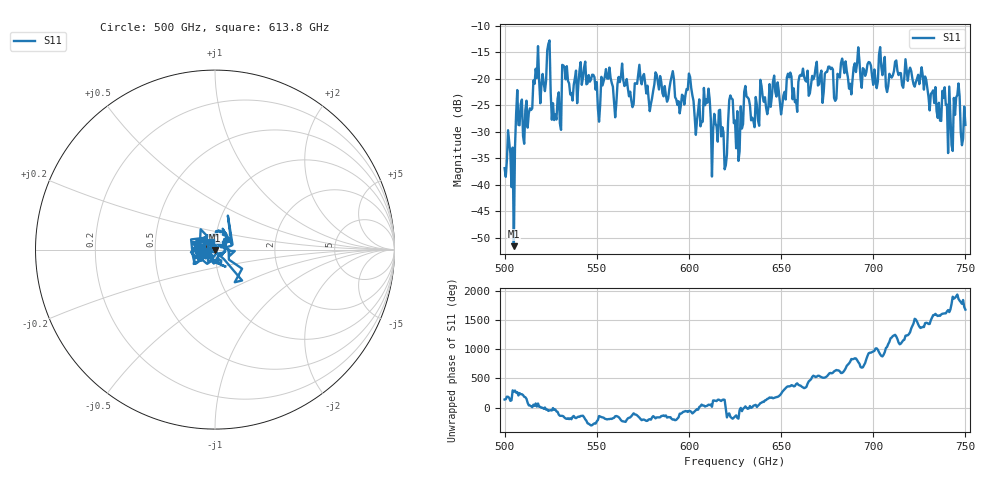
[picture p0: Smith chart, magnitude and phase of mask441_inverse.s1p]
!Created with skrf (http://scikit-rf.org).
# GHz S MA R 50.0
!freq magS11 angS11
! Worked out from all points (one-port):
!   401 points, 500 GHz to 750 GHz, reference 50 ohm
!   lowest |S11| = -51.6 dB at 505 GHz (marker M1), VSWR 1.01, Z = 50 - j0.262 ohm
!   |S11| at or under -10 dB: start of sweep to end of sweep
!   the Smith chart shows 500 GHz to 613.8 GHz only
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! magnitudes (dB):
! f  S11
! 500 GHz  -36.9
! 505 GHz  -51.6
! 507.5 GHz  -28.7
! 513.8 GHz  -25.6
! 516.9 GHz  -18.1
! 520.6 GHz  -19.1
! 523.8 GHz  -13.4
! 526.9 GHz  -27.8
! 531.2 GHz  -17.4
! 532.5 GHz  -17.8
! 550.6 GHz  -25.7
! 562.5 GHz  -20.7
! 568.8 GHz  -24.2
! 590.6 GHz  -19.6
! 593.8 GHz  -25.0
! 609.4 GHz  -23.9
! 619.4 GHz  -37.1
! 622.5 GHz  -23.2
! 625 GHz  -27.9
! 656.2 GHz  -23.9
! 676.9 GHz  -18.2
! 680 GHz  -23.8
! 683.8 GHz  -17.4
! 687.5 GHz  -21.0
! 691.2 GHz  -17.1
! 718.8 GHz  -20.4
! 741.9 GHz  -27.0
! 750 GHz  -28.7
